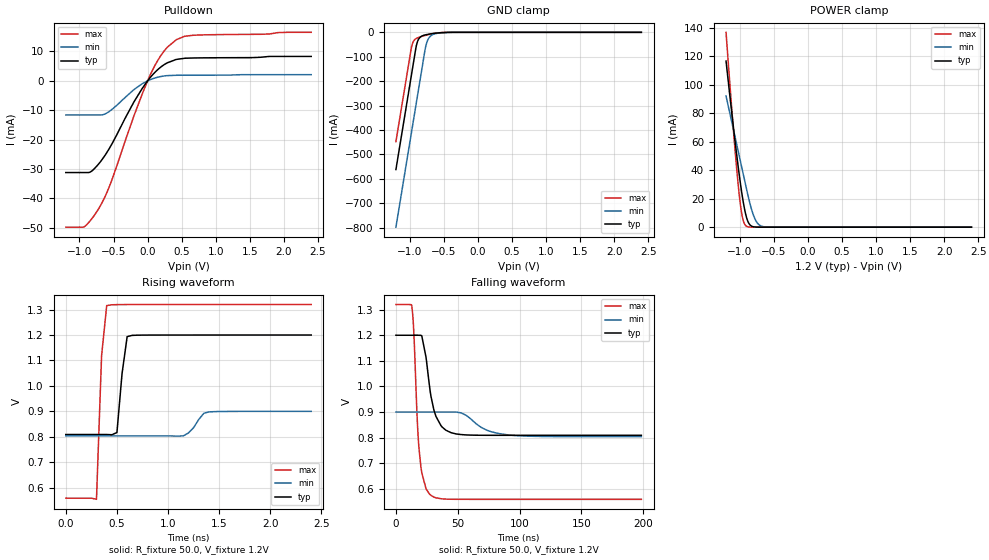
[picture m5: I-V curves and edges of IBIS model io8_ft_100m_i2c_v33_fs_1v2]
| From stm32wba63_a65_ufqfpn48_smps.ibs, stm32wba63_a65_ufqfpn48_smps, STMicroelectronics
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[Model]   io8_ft_100m_i2c_v33_fs_1v2
Model_type I/O_open_drain
Polarity   Non-Inverting
Enable   Active-Low
| CAP_THRESHOLD on pad IOFT is "UDTCAPC" :
| Rising=30.0% of vddiom   Falling=70.0% of vddiom
| C_comp min and max val. don't necessarily correlate with the min and max pvt
| but are the smallest and greatest pad capacitance found.
| var   typ   min   max
C_comp   2.85343pF  2.76986pF  2.96512pF
|C_comp_pulldown   2.85343pF  2.76986pF  2.96512pF
Vinl = 450.0mV
Vinh = 660.0mV
Vmeas = 600.0mV   | Reference voltage for timing measurements
Cref  = 50.0pF   | Timing specification test load capacitance value
Rref  = 1.0MOhm   | Timing specification test load resistance value
Vref  = 660.0mV   | Timing specification test load voltage
[Model Spec]
| TIME_THRESHOLD on pin ZII2CV11 is "CMOS" :
| Rising=50.0% of vdd   Falling=50.0% of vdd
Vinl 436.50000mV 331.50000mV 482.50000mV
Vinh 753.50000mV 549.50000mV 837.50000mV
| variable   typ   min   max
[Temperature Range] 25.0 140.0 -40.0
| variable   typ   min   max
[Voltage Range] 1.2V 900.0mV 1.32V
| variable   typ   min   max
[POWER Clamp Reference] 1.2V 900.0mV 1.32V
| variable   typ   min   max
[GND Clamp Reference] 0V 0V 0V
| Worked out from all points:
|   slope of the pulldown table from 0 to 0.18 V, typ, clamps not added: 40.6 ohm
|   GND clamp passes 1 mA (typ) near -0.51 V on its own axis
|   POWER clamp passes 1 mA (typ) near -0.83 V on its own axis
|   rising waveform, R_fixture 50.0, V_fixture 1.2V: 20-80 % time 60.1ps typ, 108ps min, 48.5ps max; typ from 0.809 V to 1.2 V
|   falling waveform, R_fixture 50.0, V_fixture 1.2V: 20-80 % time 8.07ns typ, 18.7ns min, 4.79ns max; typ from 1.2 V to 0.809 V
[POWER Clamp]
-1.2V     116.7mA    92.13mA    136.9mA
-1.09V    69.42mA    68.21mA    67.14mA
-1.02V    41.75mA    52.99mA    28.91mA
-990mV    30.98mA    46.47mA    16.09mA
-970mV    24.36mA    42.12mA    9.575mA
-940mV    15.59mA    35.6mA     3.485mA
-910mV    8.693mA    29.07mA    1.01mA
-860mV    2.259mA    18.59mA    104.6uA
-780mV    143.1uA    6.246mA    2.555uA
-720mV    16.22uA    1.846mA    157.1nA
-650mV    1.267uA    330.3uA    6.118nA
2.4V      0A         0A         0A
[GND Clamp]
-1.2V     -561.6mA   -797.4mA   -447.4mA
-980mV    -187.6mA   -423.4mA   -73.43mA
-960mV    -153.6mA   -389.4mA   -48.26mA
-900mV    -54.17mA   -287.4mA   -24.97mA
-870mV    -29.55mA   -236.4mA   -21.19mA
-830mV    -17.05mA   -168.4mA   -17.42mA
-760mV    -9.921mA   -54.55mA   -11.89mA
-730mV    -8.191mA   -29.78mA   -9.811mA
-690mV    -6.26mA    -14.49mA   -7.318mA
-600mV    -2.976mA   -4.315mA   -3.058mA
-380mV    -57.63uA   -251uA     -19.49uA
2.4V      872.8pA    204.8nA    349.4pA
| variable   typ   min   max
[Pullup Reference] 1.2V 900.0mV 1.32V
| variable   typ   min   max
[Pulldown Reference] 0V 0V 0V
[Pulldown]
-1.2V     -31.2mA    -11.62mA   -49.78mA
-930mV    -31.2mA    -11.62mA   -49.64mA
-830mV    -30.86mA   -11.62mA   -47.25mA
-710mV    -28.04mA   -11.62mA   -43.19mA
-550mV    -22.55mA   -10.2mA    -35.3mA
-200mV    -7.146mA   -2.964mA   -11.89mA
40mV      1.171mA    405.8uA    2.092mA
130mV     3.416mA    1.118mA    6.182mA
230mV     5.302mA    1.613mA    9.763mA
420mV     7.288mA    1.898mA    13.99mA
670mV     7.779mA    1.924mA    15.51mA
2.4V      8.312mA    2.101mA    16.51mA
[Ramp]
dV/dt_r 234.64857mV/733.52428ps 57.85955mV/2.01292ns 456.72372mV/408.30747ps
dV/dt_f 234.65971mV/7.93625ns 57.89503mV/18.61922ns 456.7359mV/4.6643ns
R_load = 50.0
| Removed startup time: 0s 0s 0s  .
| Removed end time: 2.4ns.
[Rising Waveform]
R_fixture   = 50.0
V_fixture   = 1.2V
V_fixture_min = 900.0mV
V_fixture_max = 1.32V
0s        808.9mV    803.5mV    558.8mV
300ps     808.9mV    803.5mV    554.1mV
350ps     808.9mV    803.5mV    1.119V
400ps     808.9mV    803.5mV    1.316V
500ps     816.6mV    803.5mV    1.319V
550ps     1.048V     803.5mV    1.32V
600ps     1.194V     803.5mV    1.32V
1.15ns    1.2V       803.8mV    1.32V
1.4ns     1.2V       897.7mV    1.32V
2.4ns     1.2V       899.9mV    1.32V
| Removed startup time: 0s 0s 0s  .
| Removed end time: 198.4ns.
[Falling Waveform]
R_fixture   = 50.0
V_fixture   = 1.2V
V_fixture_min = 900.0mV
V_fixture_max = 1.32V
0s        1.2V       900mV      1.32V
12.8ns    1.2V       900mV      1.316V
14.3ns    1.2V       900mV      1.227V
18.55ns   1.2V       900mV      762.8mV
24.3ns    1.115V     900mV      600.8mV
28.35ns   960.7mV    900mV      574.2mV
36.45ns   846.5mV    900mV      561.2mV
48.6ns    814.3mV    899.9mV    558.9mV
89.1ns    808.9mV    811.6mV    558.8mV
198.4ns   808.9mV    803.5mV    558.8mV
